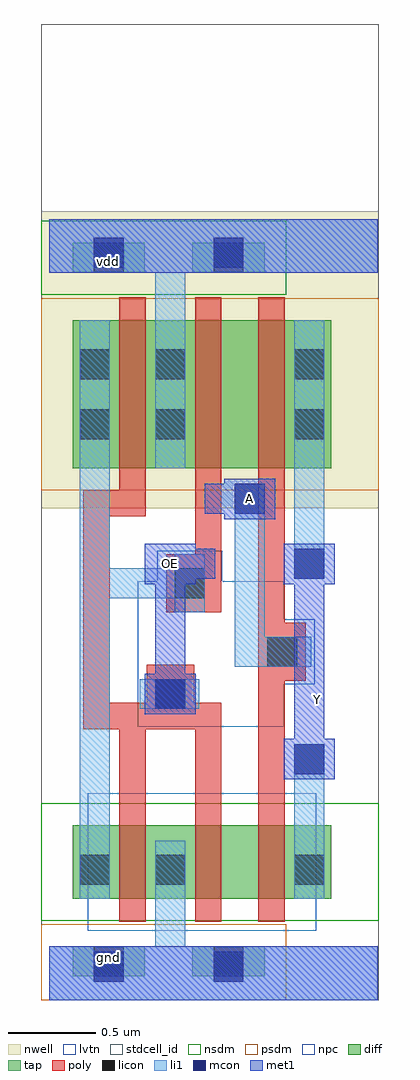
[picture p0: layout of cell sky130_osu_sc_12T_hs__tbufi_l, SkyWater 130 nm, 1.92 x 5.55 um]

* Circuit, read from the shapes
.subckt sky130_osu_sc_12T_hs__tbufi_l A OE Y gnd vdd
XM1 gnd OE n1 gnd sky130_fd_pr__nfet_01v8_lvt w=0.42 l=0.15
XM2 n2 OE gnd gnd sky130_fd_pr__nfet_01v8_lvt w=0.42 l=0.15
XM3 Y A n2 gnd sky130_fd_pr__nfet_01v8_lvt w=0.42 l=0.15
XM4 vdd OE n1 vdd sky130_fd_pr__pfet_01v8 w=0.84 l=0.15
XM5 n3 n1 vdd vdd sky130_fd_pr__pfet_01v8 w=0.84 l=0.15
XM6 Y A n3 vdd sky130_fd_pr__pfet_01v8 w=0.84 l=0.15
.ends

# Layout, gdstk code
import gdstk
lib = gdstk.Library(unit=1e-6, precision=1e-09)
def R(c, l, rs):  # rectangles x0, y0, x1, y1
    for r in rs: c.add(gdstk.rectangle(r[:2], r[2:], *l))
nwell = (64, 20)
diff = (65, 20)
tap = (65, 44)
poly = (66, 20)
licon = (66, 44)
li1 = (67, 20)
mcon = (67, 44)
met1 = (68, 20)
stdcell_id = (81, 4)
nsdm = (93, 44)
psdm = (94, 20)
npc = (95, 20)
lvtn = (125, 44)

sky130_osu_sc_12t_hs__tb = lib.new_cell('sky130_osu_sc_12T_hs__tbufi_l')
R(sky130_osu_sc_12t_hs__tb, nwell, [(-0.045,2.795,1.875,4.485)])
R(sky130_osu_sc_12t_hs__tb, diff, [(0.135,0.575,1.605,0.995), (0.135,3.025,1.605,3.865)])
R(sky130_osu_sc_12t_hs__tb, tap, [(0.135,0.135,0.545,0.305), (0.815,0.135,1.225,0.305), (0.135,4.135,0.545,4.305), (0.815,4.135,1.225,4.305)])
R(sky130_osu_sc_12t_hs__tb, poly, [(0.4,0.445,0.55,1.54), (0.83,0.445,0.98,1.54), (1.19,0.445,1.34,1.815), (0.195,1.54,0.98,1.69), (0.195,1.69,0.345,2.75), (0.555,1.69,0.825,1.905), (1.19,1.815,1.46,2.145), (1.19,2.145,1.34,3.995), (0.665,2.205,0.98,2.535), (0.83,2.535,0.98,3.995), (0.195,2.75,0.55,2.9), (0.4,2.9,0.55,3.995)])
R(sky130_osu_sc_12t_hs__tb, licon, [(0.255,0.135,0.425,0.305), (0.935,0.135,1.105,0.305), (0.175,0.655,0.345,0.825), (0.605,0.655,0.775,0.825), (1.395,0.655,1.565,0.825), (0.605,1.655,0.775,1.825), (1.24,1.895,1.41,2.065), (0.715,2.285,0.885,2.455), (0.175,3.19,0.345,3.36), (0.605,3.19,0.775,3.36), (1.395,3.19,1.565,3.36), (0.175,3.53,0.345,3.7), (0.605,3.53,0.775,3.7), (1.395,3.53,1.565,3.7), (0.255,4.135,0.425,4.305), (0.935,4.135,1.105,4.305)])
R(sky130_osu_sc_12t_hs__tb, li1, [(0,0,1.87,0.305), (0.605,0.305,0.775,0.905), (0.175,0.575,0.345,2.285), (1.395,0.575,1.565,1.455), (0.515,1.655,0.855,1.825), (1.055,1.895,1.49,2.065), (1.055,2.065,1.225,2.935), (0.715,2.205,0.885,2.285), (0.175,2.285,0.885,2.455), (1.395,2.395,1.565,3.865), (0.175,2.455,0.345,3.865), (0.715,2.455,0.885,2.535), (0.605,3.025,0.775,4.135), (0,4.135,1.87,4.44)])
R(sky130_osu_sc_12t_hs__tb, mcon, [(0.255,0.105,0.425,0.275), (0.935,0.105,1.105,0.275), (1.395,1.285,1.565,1.455), (0.605,1.655,0.775,1.825), (1.395,2.395,1.565,2.565), (1.055,2.765,1.225,2.935), (0.255,4.165,0.425,4.335), (0.935,4.165,1.105,4.335)])
R(sky130_osu_sc_12t_hs__tb, met1, [(0,0,1.87,0.305), (1.335,1.255,1.625,1.485), (1.395,1.485,1.565,2.365), (0.545,1.625,0.835,1.855), (0.605,1.855,0.775,2.365), (0.545,2.365,0.835,2.395), (1.335,2.365,1.625,2.595), (0.545,2.395,0.945,2.565), (0.545,2.565,0.835,2.595), (0.995,2.735,1.285,2.765), (0.885,2.765,1.285,2.935), (0.995,2.935,1.285,2.965), (0,4.135,1.87,4.44)])
R(sky130_osu_sc_12t_hs__tb, stdcell_id, [(-0.045,0,1.875,5.55)])
R(sky130_osu_sc_12t_hs__tb, nsdm, [(-0.045,0.45,1.875,1.12), (-0.045,4.01,1.35,4.43)])
R(sky130_osu_sc_12t_hs__tb, psdm, [(-0.045,0,1.35,0.43), (-0.045,2.9,1.875,3.99)])
R(sky130_osu_sc_12t_hs__tb, npc, [(0.505,1.555,1.335,1.795), (0.505,1.795,1.51,2.165), (0.505,2.165,1.335,2.38), (0.615,2.38,0.985,2.555)])
R(sky130_osu_sc_12t_hs__tb, lvtn, [(0.22,0.395,1.52,1.175)])
sky130_osu_sc_12t_hs__tb.add(gdstk.Label('gnd', (0.34,0.24), layer=68, texttype=16))
sky130_osu_sc_12t_hs__tb.add(gdstk.Label('vdd', (0.34,4.2), layer=68, texttype=16))
sky130_osu_sc_12t_hs__tb.add(gdstk.Label('Y', (1.525,1.71), layer=68, texttype=5))
sky130_osu_sc_12t_hs__tb.add(gdstk.Label('OE', (0.69,2.48), layer=68, texttype=5))
sky130_osu_sc_12t_hs__tb.add(gdstk.Label('A', (1.14,2.85), layer=68, texttype=5))

lib.write_gds('sky130_osu_sc_12T_hs__tbufi_l.gds')
